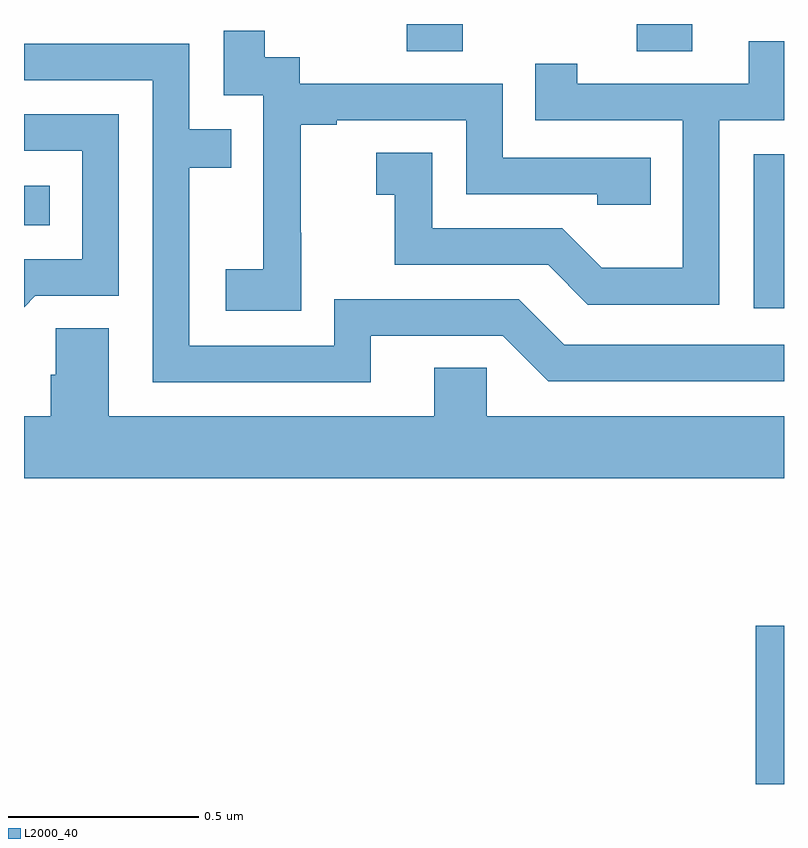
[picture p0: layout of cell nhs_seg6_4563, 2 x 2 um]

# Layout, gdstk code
import gdstk
lib = gdstk.Library(unit=1e-6, precision=1e-09)
def R(c, l, rs):  # rectangles x0, y0, x1, y1
    for r in rs: c.add(gdstk.rectangle(r[:2], r[2:], *l))
def P(c, l, *ps):  # polygons
    for p in ps: c.add(gdstk.Polygon(p, *l))
L2000_40 = (2000, 40)

nhs_seg6_4563 = lib.new_cell('nhs_seg6_4563')
R(nhs_seg6_4563, L2000_40, [(172.925,978.5,173,978.916), (172.92,979.752,173,980.157), (171,979.97,171.068,980.074), (172.007,980.428,172.155,980.5), (172.612,980.428,172.759,980.5)])
P(nhs_seg6_4563, L2000_40, [(171.729,979.951),(171.728,979.951),(171.728,980.235),(171.823,980.235),(171.823,980.247),(172.164,980.247),(172.164,980.052),(172.509,980.052),(172.509,980.025),(172.649,980.025),(172.649,980.148),(172.26,980.148),(172.26,980.343),(171.726,980.343),(171.726,980.412),(171.634,980.412),(171.634,980.482),(171.525,980.482),(171.525,980.313),(171.63,980.313),(171.63,980.084),(171.629,980.084),(171.629,979.855),(171.531,979.855),(171.531,979.745),(171.729,979.745)],
  [(172.83,980.247),(173,980.247),(173,980.455),(172.907,980.455),(172.907,980.343),(172.456,980.343),(172.456,980.395),(172.345,980.395),(172.345,980.247),(172.734,980.247),(172.734,979.858),(172.52,979.858),(172.416,979.962),(172.074,979.962),(172.074,980.161),(171.927,980.161),(171.927,980.051),(171.976,980.051),(171.976,979.866),(172.379,979.866),(172.484,979.761),(172.83,979.761)],
  [(171.913,979.68),(172.26,979.68),(172.38,979.56),(173,979.56),(173,979.656),(172.422,979.656),(172.302,979.776),(171.816,979.776),(171.816,979.653),(171.435,979.653),(171.435,980.122),(171.545,980.122),(171.545,980.223),(171.435,980.223),(171.435,980.448),(171,980.448),(171,980.352),(171.339,980.352),(171.339,979.557),(171.913,979.557)],
  [(171.03,979.785),(171.249,979.785),(171.249,980.262),(171,980.262),(171,980.166),(171.153,980.166),(171.153,979.881),(171,979.881),(171,979.755)],
  [(173,979.468),(172.218,979.468),(172.218,979.595),(172.079,979.595),(172.079,979.468),(171.223,979.468),(171.223,979.7),(171.084,979.7),(171.084,979.577),(171.071,979.577),(171.071,979.468),(171,979.468),(171,979.304),(173,979.304)])

lib.write_gds('nhs_seg6_4563.gds')
